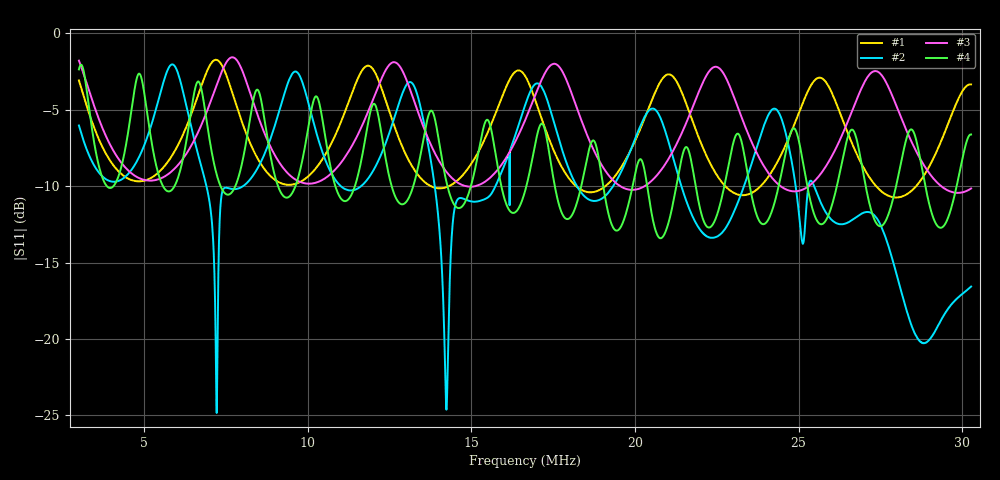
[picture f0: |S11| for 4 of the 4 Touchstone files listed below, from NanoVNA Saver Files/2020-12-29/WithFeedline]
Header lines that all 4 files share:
# HZ S RI R 50
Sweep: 3 MHz to 30.27 MHz
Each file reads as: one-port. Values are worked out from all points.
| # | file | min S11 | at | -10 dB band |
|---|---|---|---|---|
| 1 | Dipole-FeelineOnly.s1p | -10.7 dB | 27.98 MHz | 1.228 MHz wide |
| 2 | H422-WithFeedline.s1p | -24.8 dB | 7.212 MHz | over 4.799 MHz wide |
| 3 | Longwire-FeedlineOnly.s1p | -10.4 dB | 29.87 MHz | over 918.8 kHz wide |
| 4 | Parallel-WithFeedline.s1p | -13.4 dB | 20.78 MHz | 958 kHz wide |
